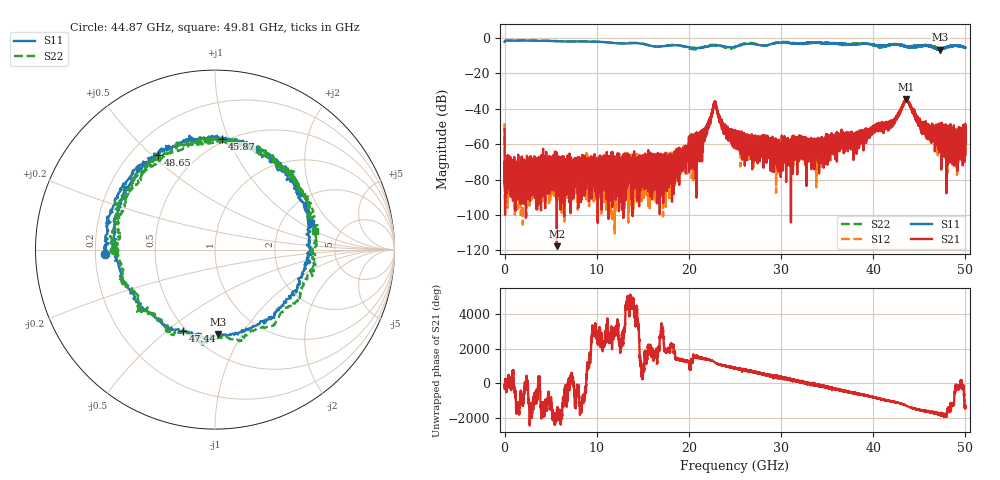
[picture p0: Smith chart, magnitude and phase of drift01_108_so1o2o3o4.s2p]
!Created with skrf (http://scikit-rf.org).
# Hz S RI R 50.0
!freq ReS11 ImS11 ReS21 ImS21 ReS12 ImS12 ReS22 ImS22
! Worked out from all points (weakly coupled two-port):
!   10001 points, 300 kHz to 50 GHz, reference 50 ohm
!   highest |S21| = -34.59 dB at 43.57 GHz (marker M1); lowest = -117.6 dB at 5.665 GHz (marker M2)
!   lowest |S11| = -6.5 dB at 47.28 GHz (marker M3), VSWR 2.78, Z = 32.8 - j39.6 ohm
!   |S11| at or under -10 dB: nowhere
!   |S22| runs from -6.3 to -1.4 dB; largest |S21 - S12| = 0.0064
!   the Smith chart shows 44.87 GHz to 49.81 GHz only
!   S11 on the Smith chart (normalised r, x): 44.87 GHz: 0.24, -0.02; 45.87 GHz: 0.47, +0.95; 47.44 GHz: 0.48, -0.57; 48.65 GHz: 0.31, +0.52; 49.81 GHz: 2.91, +1.26
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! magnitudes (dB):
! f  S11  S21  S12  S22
! 300 kHz  -2.1  -51.4  -48.1  -2.1
! 255.3 MHz  -1.4  -73.5  -80.6  -1.4
! 5.665 GHz  -1.8  -117.6  -69.4  -1.7
! 8.335 GHz  -1.9  -71.1  -71.5  -1.8
! 16.67 GHz  -4.8  -79.5  -80.5  -4.8
! 20.59 GHz  -5.5  -69.4  -60.1  -6.3
! 21.83 GHz  -5.0  -52.3  -52.6  -4.7
! 22.79 GHz  -4.3  -36.5  -36.5  -4.0
! 23.76 GHz  -4.6  -50.7  -48.8  -5.0
! 25 GHz  -5.0  -54.0  -54.8  -5.1
! 29.79 GHz  -2.6  -68.5  -65.4  -2.4
! 33.34 GHz  -2.6  -59.6  -60.0  -2.7
! 37.97 GHz  -3.5  -56.8  -56.0  -3.5
! 41.67 GHz  -3.9  -52.1  -49.5  -4.1
! 43.57 GHz  -4.5  -34.6  -34.8  -4.7
! 44.87 GHz  -4.2  -46.9  -46.8  -5.0
! 45.87 GHz  -4.2  -52.0  -52.9  -4.4
! 47.28 GHz  -6.5  -53.2  -57.2  -5.8
! 47.44 GHz  -6.3  -49.7  -56.2  -5.7
! 48.65 GHz  -4.2  -62.6  -65.7  -4.7
! 49.81 GHz  -5.1  -55.8  -61.5  -4.9
! 50 GHz  -5.5  -50.7  -56.8  -5.3
